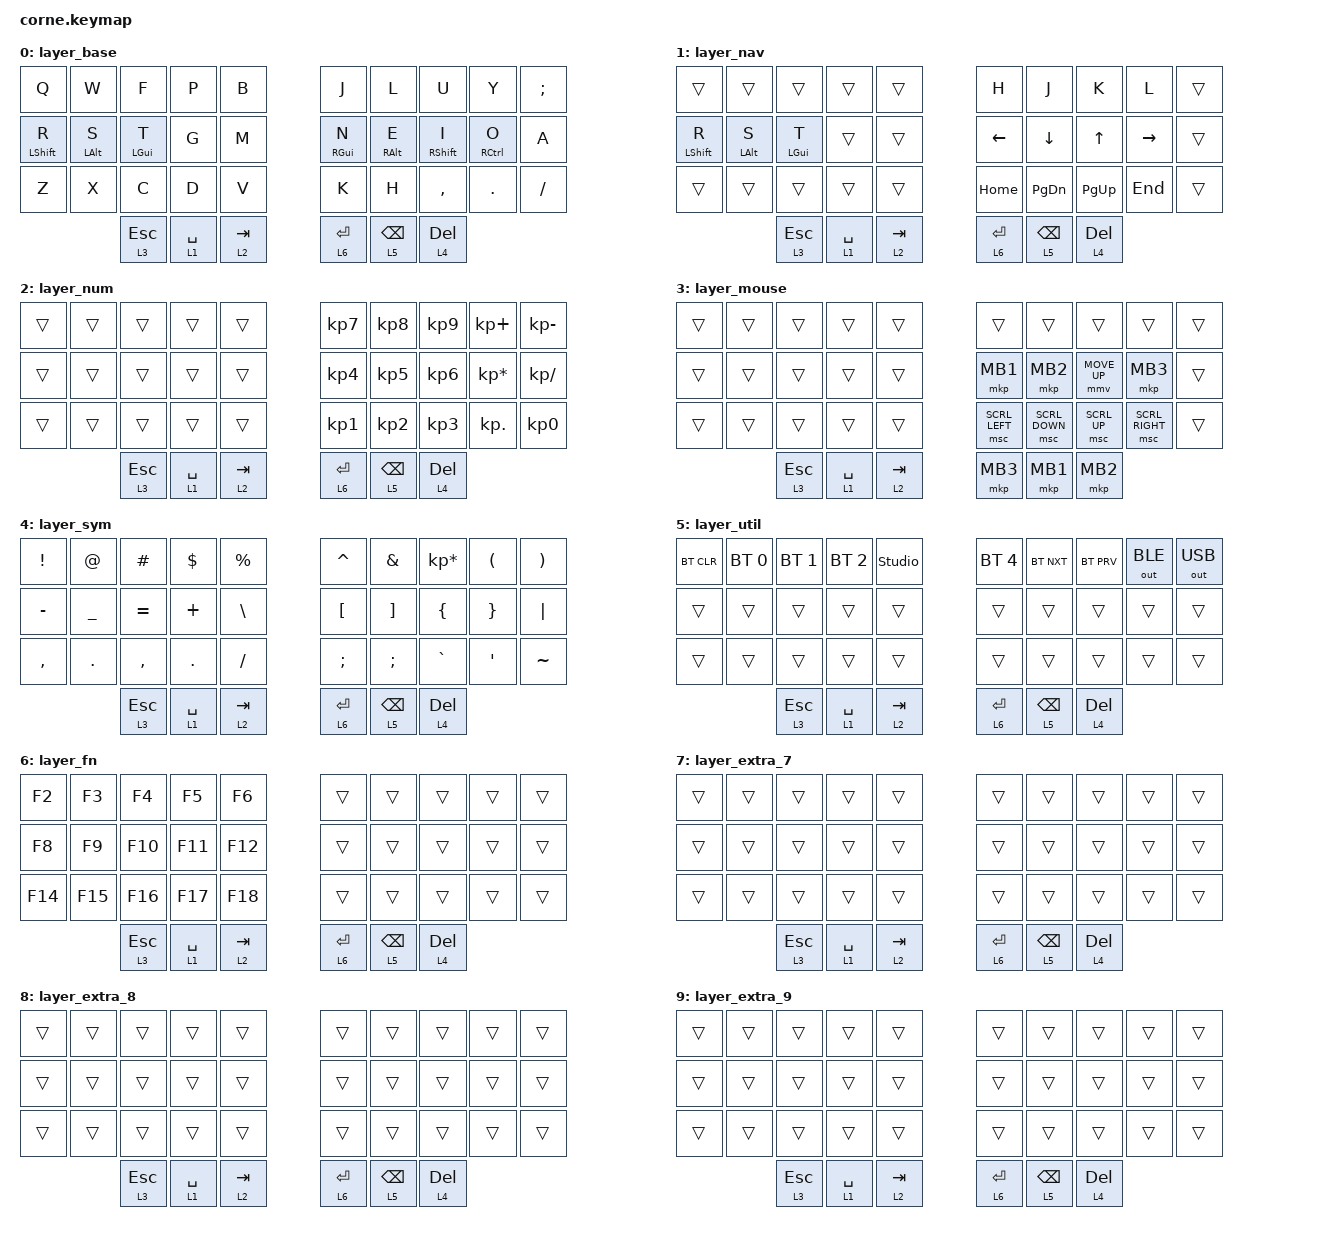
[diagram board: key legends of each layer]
/*
 * Copyright (c) 2020 The ZMK Contributors
 *
 * SPDX-License-Identifier: MIT
 */

#include <behaviors.dtsi>
#include <dt-bindings/zmk/keys.h>
#include <dt-bindings/zmk/bt.h>
#include <dt-bindings/zmk/mouse.h>
#include <dt-bindings/zmk/outputs.h>

/ {
        /* Use 5-column (36-key) mapping for Chocofi-style Corne layouts */
        chosen {
                zmk,physical-layout = &foostan_corne_5col_layout;
        };

        behaviors {
                hm_l: homerow_mods_left {
                        compatible = "zmk,behavior-hold-tap";
                        label = "HM_L";
                        #binding-cells = <2>;
                        flavor = "balanced";
                        tapping-term-ms = <280>;
                        quick-tap-ms = <175>;
                        require-prior-idle-ms = <150>;
                        bindings = <&kp>, <&kp>;
                        /* Left-hand HRMs: trigger hold when a RIGHT-hand key (or right thumb) is pressed */
                        hold-trigger-key-positions = <5 6 7 8 9  15 16 17 18 19  25 26 27 28 29  33 34 35>;
                        hold-trigger-on-release;
                };

                hm_r: homerow_mods_right {
                        compatible = "zmk,behavior-hold-tap";
                        label = "HM_R";
                        #binding-cells = <2>;
                        flavor = "balanced";
                        tapping-term-ms = <280>;
                        quick-tap-ms = <175>;
                        require-prior-idle-ms = <150>;
                        bindings = <&kp>, <&kp>;
                        /* Right-hand HRMs: trigger hold when a LEFT-hand key (or left thumb) is pressed */
                        hold-trigger-key-positions = <0 1 2 3 4  10 11 12 13 14  20 21 22 23 24  30 31 32>;
                        hold-trigger-on-release;
                };
        };

        keymap {
                compatible = "zmk,keymap";

                layer_base {
                        bindings = <
                                &kp Q           &kp W           &kp F           &kp P           &kp B           &kp J           &kp L            &kp U            &kp Y            &kp SEMI
                                &hm_l LSHFT R    &hm_l LALT S     &hm_l LGUI T     &kp G           &kp M           &hm_r RGUI N     &hm_r RALT E      &hm_r RSHFT I     &hm_r RCTRL O     &kp A
                                &kp Z           &kp X           &kp C           &kp D           &kp V           &kp K           &kp H            &kp COMMA        &kp DOT          &kp FSLH

                                                                &lt 3 ESC        &lt 1 SPACE       &lt 2 TAB         &lt 6 RET         &lt 5 BSPC        &lt 4 DEL
                        >;
                };

                layer_nav {
                        bindings = <
                                &trans          &trans          &trans          &trans          &trans          &kp H           &kp J            &kp K            &kp L            &trans
                                &hm_l LSHFT R    &hm_l LALT S    &hm_l LGUI T     &trans          &trans          &kp LEFT        &kp DOWN         &kp UP           &kp RIGHT        &trans
                                &trans          &trans          &trans          &trans          &trans          &kp HOME        &kp PG_DN        &kp PG_UP        &kp END          &trans

                                                                &lt 3 ESC        &lt 1 SPACE       &lt 2 TAB         &lt 6 RET         &lt 5 BSPC        &lt 4 DEL
                        >;
                };

                layer_num {
                        bindings = <
                                &trans          &trans          &trans          &trans          &trans          &kp KP_N7       &kp KP_N8        &kp KP_N9        &kp KP_PLUS      &kp KP_MINUS
                                &trans          &trans          &trans          &trans          &trans          &kp KP_N4       &kp KP_N5        &kp KP_N6        &kp KP_MULTIPLY  &kp KP_DIVIDE
                                &trans          &trans          &trans          &trans          &trans          &kp KP_N1       &kp KP_N2        &kp KP_N3        &kp KP_DOT       &kp KP_N0

                                                                &lt 3 ESC        &lt 1 SPACE       &lt 2 TAB         &lt 6 RET         &lt 5 BSPC        &lt 4 DEL
                        >;
                };

                layer_mouse {
                        bindings = <
                                &trans          &trans          &trans          &trans          &trans          &trans          &trans          &trans          &trans          &trans
                                &trans          &trans          &trans          &trans          &trans          &mkp MB1        &mkp MB2        &mmv MOVE_UP     &mkp MB3        &trans
                                &trans          &trans          &trans          &trans          &trans          &msc SCRL_LEFT  &msc SCRL_DOWN   &msc SCRL_UP     &msc SCRL_RIGHT  &trans

                                                                &lt 3 ESC        &lt 1 SPACE       &lt 2 TAB         &mkp MB3        &mkp MB1         &mkp MB2
                        >;
                };

                layer_sym {
                        bindings = <
                                &kp EXCL        &kp AT          &kp HASH        &kp DLLR        &kp PRCNT       &kp CARET       &kp AMPS         &kp KP_MULTIPLY  &kp LPAR         &kp RPAR
                                &kp MINUS       &kp UNDER       &kp EQUAL       &kp PLUS        &kp BSLH        &kp LBKT        &kp RBKT         &kp LBRC         &kp RBRC         &kp PIPE
                                &kp COMMA       &kp DOT         &kp COMMA       &kp DOT         &kp FSLH        &kp SEMI        &kp SEMI         &kp GRAVE        &kp SQT          &kp TILDE

                                                                &lt 3 ESC        &lt 1 SPACE       &lt 2 TAB         &lt 6 RET         &lt 5 BSPC        &lt 4 DEL
                        >;
                };

                layer_util {
                        bindings = <
                                &bt BT_CLR      &bt BT_SEL 0    &bt BT_SEL 1    &bt BT_SEL 2    &studio_unlock  &bt BT_SEL 4    &bt BT_NXT       &bt BT_PRV       &out OUT_BLE     &out OUT_USB
                                &trans          &trans          &trans          &trans          &trans          &trans          &trans          &trans          &trans          &trans
                                &trans          &trans          &trans          &trans          &trans          &trans          &trans          &trans          &trans          &trans

                                                                &lt 3 ESC        &lt 1 SPACE       &lt 2 TAB         &lt 6 RET         &lt 5 BSPC        &lt 4 DEL
                        >;
                };

                layer_fn {
                        bindings = <
                                &kp F2          &kp F3          &kp F4          &kp F5          &kp F6          &trans          &trans          &trans          &trans          &trans
                                &kp F8          &kp F9          &kp F10         &kp F11         &kp F12         &trans          &trans          &trans          &trans          &trans
                                &kp F14         &kp F15         &kp F16         &kp F17         &kp F18         &trans          &trans          &trans          &trans          &trans

                                                                &lt 3 ESC        &lt 1 SPACE       &lt 2 TAB         &lt 6 RET         &lt 5 BSPC        &lt 4 DEL
                        >;
                };

                layer_extra_7 {
                        bindings = <
                                &trans          &trans          &trans          &trans          &trans          &trans          &trans          &trans          &trans          &trans
                                &trans          &trans          &trans          &trans          &trans          &trans          &trans          &trans          &trans          &trans
                                &trans          &trans          &trans          &trans          &trans          &trans          &trans          &trans          &trans          &trans

                                                                &lt 3 ESC        &lt 1 SPACE       &lt 2 TAB         &lt 6 RET         &lt 5 BSPC        &lt 4 DEL
                        >;
                };

                layer_extra_8 {
                        bindings = <
                                &trans          &trans          &trans          &trans          &trans          &trans          &trans          &trans          &trans          &trans
                                &trans          &trans          &trans          &trans          &trans          &trans          &trans          &trans          &trans          &trans
                                &trans          &trans          &trans          &trans          &trans          &trans          &trans          &trans          &trans          &trans

                                                                &lt 3 ESC        &lt 1 SPACE       &lt 2 TAB         &lt 6 RET         &lt 5 BSPC        &lt 4 DEL
                        >;
                };

                layer_extra_9 {
                        bindings = <
                                &trans          &trans          &trans          &trans          &trans          &trans          &trans          &trans          &trans          &trans
                                &trans          &trans          &trans          &trans          &trans          &trans          &trans          &trans          &trans          &trans
                                &trans          &trans          &trans          &trans          &trans          &trans          &trans          &trans          &trans          &trans

                                                                &lt 3 ESC        &lt 1 SPACE       &lt 2 TAB         &lt 6 RET         &lt 5 BSPC        &lt 4 DEL
                        >;
                };
        };
};
